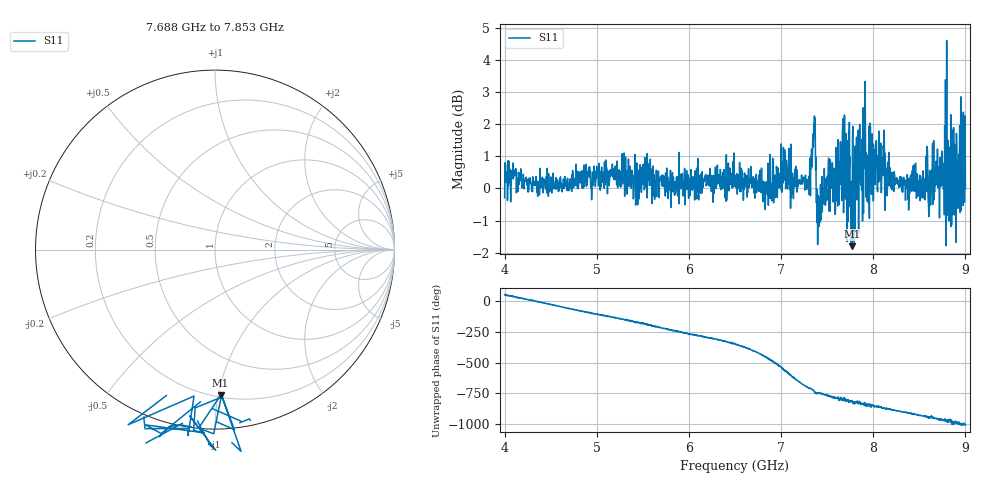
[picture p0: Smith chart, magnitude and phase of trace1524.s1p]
! Created with skrf 1.8.0 (http://scikit-rf.org).
# Hz S RI R 50.0
!freq ReS11 ImS11
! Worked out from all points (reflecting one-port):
!   1601 points, 4 GHz to 9 GHz, reference 50 ohm
!   lowest |S11| = -1.8 dB at 7.772 GHz (marker M1), VSWR 9.69, Z = 10.6 - j50.8 ohm
!   phase of S11 starts at 51 deg and turns -1057 deg over the sweep
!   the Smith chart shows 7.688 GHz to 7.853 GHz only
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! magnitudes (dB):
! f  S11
! 4 GHz  -0.3
! 4.1 GHz  0.4
! 4.625 GHz  -0.1
! 5.25 GHz  0.1
! 5.875 GHz  -0.1
! 6.5 GHz  0.4
! 6.828 GHz  -0.7
! 7.038 GHz  1.2
! 7.125 GHz  0.4
! 7.294 GHz  0.1
! 7.347 GHz  1.4
! 7.369 GHz  2.2
! 7.409 GHz  -1.2
! 7.525 GHz  0.5
! 7.609 GHz  -0.3
! 7.669 GHz  2.0
! 7.703 GHz  -0.3
! 7.75 GHz  -0.6
! 7.772 GHz  -1.8
! 7.891 GHz  0.4
! 7.956 GHz  -0.7
! 8.097 GHz  1.0
! 8.375 GHz  0.0
! 8.616 GHz  0.5
! 8.788 GHz  -0.4
! 8.875 GHz  0.0
! 8.959 GHz  2.3
! 9 GHz  0.0
